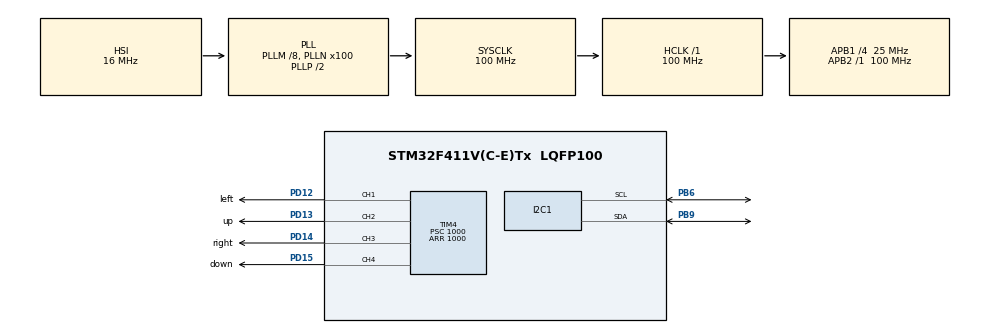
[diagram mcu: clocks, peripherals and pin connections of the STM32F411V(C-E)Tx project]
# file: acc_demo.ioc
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I2C1.I2C_Mode=I2C_Fast
Mcu.Family=STM32F4
Mcu.Name=STM32F411V(C-E)Tx
Mcu.Package=LQFP100
NVIC.I2C1_ER_IRQn=true\:0\:0\:false\:false\:true
NVIC.I2C1_EV_IRQn=true\:0\:0\:false\:false\:true
NVIC.PriorityGroup=NVIC_PRIORITYGROUP_4
NVIC.TIM4_IRQn=true\:0\:0\:false\:false\:true
PB6.Mode=I2C
PB6.Signal=I2C1_SCL
PB9.Mode=I2C
PB9.Signal=I2C1_SDA
PD12.GPIO_Label=left
PD12.Signal=S_TIM4_CH1
PD13.GPIO_Label=up
PD13.Signal=S_TIM4_CH2
PD14.GPIO_Label=right
PD14.Signal=S_TIM4_CH3
PD15.GPIO_Label=down
PD15.Signal=S_TIM4_CH4
ProjectManager.HeapSize=0x200
ProjectManager.StackSize=0x400
ProjectManager.TargetToolchain=SW4STM32
RCC.48MHZClocksFreq_Value=50000000
RCC.AHBFreq_Value=100000000
RCC.APB1CLKDivider=RCC_HCLK_DIV4
RCC.APB1Freq_Value=25000000
RCC.APB1TimFreq_Value=50000000
RCC.APB2Freq_Value=100000000
RCC.APB2TimFreq_Value=100000000
RCC.CortexFreq_Value=100000000
RCC.HCLKFreq_Value=100000000
RCC.HSE_VALUE=25000000
RCC.HSI_VALUE=16000000
RCC.LSE_VALUE=32768
RCC.PLLM=8
RCC.PLLN=100
RCC.SYSCLKFreq_VALUE=100000000
RCC.SYSCLKSource=RCC_SYSCLKSOURCE_PLLCLK
RCC.VCOOutputFreq_Value=200000000
SH.S_TIM4_CH1.0=TIM4_CH1,PWM Generation1 CH1
SH.S_TIM4_CH2.0=TIM4_CH2,PWM Generation2 CH2
SH.S_TIM4_CH3.0=TIM4_CH3,PWM Generation3 CH3
SH.S_TIM4_CH4.0=TIM4_CH4,PWM Generation4 CH4
TIM4.Channel-PWM\ Generation2\ CH2=TIM_CHANNEL_2
TIM4.Channel-PWM\ Generation3\ CH3=TIM_CHANNEL_3
TIM4.Channel-PWM\ Generation4\ CH4=TIM_CHANNEL_4
TIM4.Period=1000
TIM4.Prescaler=1000
VP_TIM4_VS_ClockSourceINT.Mode=Internal
board=acc_demo

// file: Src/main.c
/**
  ******************************************************************************
  * File Name          : main.c
  * Description        : Main program body
  ******************************************************************************
  *
  * COPYRIGHT(c) 2016 STMicroelectronics
  *
  * Redistribution and use in source and binary forms, with or without modification,
  * are permitted provided that the following conditions are met:
  *   1. Redistributions of source code must retain the above copyright notice,
  *      this list of conditions and the following disclaimer.
  *   2. Redistributions in binary form must reproduce the above copyright notice,
  *      this list of conditions and the following disclaimer in the documentation
  *      and/or other materials provided with the distribution.
  *   3. Neither the name of STMicroelectronics nor the names of its contributors
  *      may be used to endorse or promote products derived from this software
  *      without specific prior written permission.
  *
  * THIS SOFTWARE IS PROVIDED BY THE COPYRIGHT HOLDERS AND CONTRIBUTORS "AS IS"
  * AND ANY EXPRESS OR IMPLIED WARRANTIES, INCLUDING, BUT NOT LIMITED TO, THE
  * IMPLIED WARRANTIES OF MERCHANTABILITY AND FITNESS FOR A PARTICULAR PURPOSE ARE
  * DISCLAIMED. IN NO EVENT SHALL THE COPYRIGHT HOLDER OR CONTRIBUTORS BE LIABLE
  * FOR ANY DIRECT, INDIRECT, INCIDENTAL, SPECIAL, EXEMPLARY, OR CONSEQUENTIAL
  * DAMAGES (INCLUDING, BUT NOT LIMITED TO, PROCUREMENT OF SUBSTITUTE GOODS OR
  * SERVICES; LOSS OF USE, DATA, OR PROFITS; OR BUSINESS INTERRUPTION) HOWEVER
  * CAUSED AND ON ANY THEORY OF LIABILITY, WHETHER IN CONTRACT, STRICT LIABILITY,
  * OR TORT (INCLUDING NEGLIGENCE OR OTHERWISE) ARISING IN ANY WAY OUT OF THE USE
  * OF THIS SOFTWARE, EVEN IF ADVISED OF THE POSSIBILITY OF SUCH DAMAGE.
  *
  ******************************************************************************
  */
#include "main.h"
#include "stm32f4xx_hal.h"

I2C_HandleTypeDef hi2c1;

TIM_HandleTypeDef htim4;

/* USER CODE BEGIN PV */
/* Private variables ---------------------------------------------------------*/
#define acc_dev_addr  0x19<<1 //addresses from manual
#define acc_mem  0x20
uint8_t acc_write_message = 0x77;
#define acc_out_x 0x29
#define acc_out_y 0x2b
#define acc_out_z 0x2d //|0x80 for read 16bit data from accelerometr
int8_t posx, posy, posz;
float x,y,z;
/* USER CODE END PV */

void SystemClock_Config(void);
void Error_Handler(void);
static void MX_GPIO_Init(void);
static void MX_I2C1_Init(void);
static void MX_TIM4_Init(void);

void HAL_TIM_MspPostInit(TIM_HandleTypeDef *htim);

/* USER CODE BEGIN PFP */
/* Private function prototypes -----------------------------------------------*/

/* USER CODE END PFP */

int main(void)
{

  /* MCU Configuration----------------------------------------------------------*/

  /* Reset of all peripherals, Initializes the Flash interface and the Systick. */
  HAL_Init();

  /* Configure the system clock */
  SystemClock_Config();

  /* Initialize all configured peripherals */
  MX_GPIO_Init();
  MX_I2C1_Init();
  MX_TIM4_Init();

  /* USER CODE BEGIN 2 */
  HAL_TIM_PWM_Start(&htim4,TIM_CHANNEL_1);
  HAL_TIM_PWM_Start(&htim4,TIM_CHANNEL_2);
  HAL_TIM_PWM_Start(&htim4,TIM_CHANNEL_3);
  HAL_TIM_PWM_Start(&htim4,TIM_CHANNEL_4);
  HAL_I2C_Mem_Write(&hi2c1,acc_dev_addr,acc_mem, 1,&acc_write_message,1,100);

  /* USER CODE END 2 */

  /* Infinite loop */
  while (1)
  {

  /* USER CODE BEGIN 3 */

	  HAL_I2C_Mem_Read(&hi2c1, acc_dev_addr, acc_out_x, 1, &posx, 1, 100);
	  HAL_I2C_Mem_Read(&hi2c1, acc_dev_addr, acc_out_y, 1, &posy, 1, 100);

	  if(posx < 0) {
		  TIM4->CCR2=posx*posx;
		  TIM4->CCR4=0;
	  } else {
		  TIM4->CCR4=posx*posx;
		  TIM4->CCR2=0;
	  }
	  if(posy < 0) {
		  TIM4->CCR1=posy*posy;
		  TIM4->CCR3=0;
	  } else {
		  TIM4->CCR3=posy*posy;
		  TIM4->CCR1=0;
	  }
  }
  /* USER CODE END 3 */

}

/** System Clock Configuration
*/
void SystemClock_Config(void)
{

  RCC_OscInitTypeDef RCC_OscInitStruct;
  RCC_ClkInitTypeDef RCC_ClkInitStruct;

    /**Configure the main internal regulator output voltage
    */
  __HAL_RCC_PWR_CLK_ENABLE();

  __HAL_PWR_VOLTAGESCALING_CONFIG(PWR_REGULATOR_VOLTAGE_SCALE1);

    /**Initializes the CPU, AHB and APB busses clocks
    */
  RCC_OscInitStruct.OscillatorType = RCC_OSCILLATORTYPE_HSI;
  RCC_OscInitStruct.HSIState = RCC_HSI_ON;
  RCC_OscInitStruct.HSICalibrationValue = 16;
  RCC_OscInitStruct.PLL.PLLState = RCC_PLL_ON;
  RCC_OscInitStruct.PLL.PLLSource = RCC_PLLSOURCE_HSI;
  RCC_OscInitStruct.PLL.PLLM = 8;
  RCC_OscInitStruct.PLL.PLLN = 100;
  RCC_OscInitStruct.PLL.PLLP = RCC_PLLP_DIV2;
  RCC_OscInitStruct.PLL.PLLQ = 4;
  if (HAL_RCC_OscConfig(&RCC_OscInitStruct) != HAL_OK)
  {
    Error_Handler();
  }

    /**Initializes the CPU, AHB and APB busses clocks
    */
  RCC_ClkInitStruct.ClockType = RCC_CLOCKTYPE_HCLK|RCC_CLOCKTYPE_SYSCLK
                              |RCC_CLOCKTYPE_PCLK1|RCC_CLOCKTYPE_PCLK2;
  RCC_ClkInitStruct.SYSCLKSource = RCC_SYSCLKSOURCE_PLLCLK;
  RCC_ClkInitStruct.AHBCLKDivider = RCC_SYSCLK_DIV1;
  RCC_ClkInitStruct.APB1CLKDivider = RCC_HCLK_DIV4;
  RCC_ClkInitStruct.APB2CLKDivider = RCC_HCLK_DIV1;

  if (HAL_RCC_ClockConfig(&RCC_ClkInitStruct, FLASH_LATENCY_3) != HAL_OK)
  {
    Error_Handler();
  }

    /**Configure the Systick interrupt time
    */
  HAL_SYSTICK_Config(HAL_RCC_GetHCLKFreq()/1000);

    /**Configure the Systick
    */
  HAL_SYSTICK_CLKSourceConfig(SYSTICK_CLKSOURCE_HCLK);

  /* SysTick_IRQn interrupt configuration */
  HAL_NVIC_SetPriority(SysTick_IRQn, 0, 0);
}

/* I2C1 init function */
static void MX_I2C1_Init(void)
{

  hi2c1.Instance = I2C1;
  hi2c1.Init.ClockSpeed = 400000;
  hi2c1.Init.DutyCycle = I2C_DUTYCYCLE_2;
  hi2c1.Init.OwnAddress1 = 0;
  hi2c1.Init.AddressingMode = I2C_ADDRESSINGMODE_7BIT;
  hi2c1.Init.DualAddressMode = I2C_DUALADDRESS_DISABLE;
  hi2c1.Init.OwnAddress2 = 0;
  hi2c1.Init.GeneralCallMode = I2C_GENERALCALL_DISABLE;
  hi2c1.Init.NoStretchMode = I2C_NOSTRETCH_DISABLE;
  if (HAL_I2C_Init(&hi2c1) != HAL_OK)
  {
    Error_Handler();
  }

}

/* TIM4 init function */
static void MX_TIM4_Init(void)
{

  TIM_ClockConfigTypeDef sClockSourceConfig;
  TIM_MasterConfigTypeDef sMasterConfig;
  TIM_OC_InitTypeDef sConfigOC;

  htim4.Instance = TIM4;
  htim4.Init.Prescaler = 1000;
  htim4.Init.CounterMode = TIM_COUNTERMODE_UP;
  htim4.Init.Period = 1000;
  htim4.Init.ClockDivision = TIM_CLOCKDIVISION_DIV1;
  if (HAL_TIM_Base_Init(&htim4) != HAL_OK)
  {
    Error_Handler();
  }

  sClockSourceConfig.ClockSource = TIM_CLOCKSOURCE_INTERNAL;
  if (HAL_TIM_ConfigClockSource(&htim4, &sClockSourceConfig) != HAL_OK)
  {
    Error_Handler();
  }

  if (HAL_TIM_PWM_Init(&htim4) != HAL_OK)
  {
    Error_Handler();
  }

  sMasterConfig.MasterOutputTrigger = TIM_TRGO_RESET;
  sMasterConfig.MasterSlaveMode = TIM_MASTERSLAVEMODE_DISABLE;
  if (HAL_TIMEx_MasterConfigSynchronization(&htim4, &sMasterConfig) != HAL_OK)
  {
    Error_Handler();
  }

  sConfigOC.OCMode = TIM_OCMODE_PWM1;
  sConfigOC.Pulse = 0;
  sConfigOC.OCPolarity = TIM_OCPOLARITY_HIGH;
  sConfigOC.OCFastMode = TIM_OCFAST_DISABLE;
  if (HAL_TIM_PWM_ConfigChannel(&htim4, &sConfigOC, TIM_CHANNEL_1) != HAL_OK)
  {
    Error_Handler();
  }

  if (HAL_TIM_PWM_ConfigChannel(&htim4, &sConfigOC, TIM_CHANNEL_2) != HAL_OK)
  {
    Error_Handler();
  }

  if (HAL_TIM_PWM_ConfigChannel(&htim4, &sConfigOC, TIM_CHANNEL_3) != HAL_OK)
  {
    Error_Handler();
  }

  if (HAL_TIM_PWM_ConfigChannel(&htim4, &sConfigOC, TIM_CHANNEL_4) != HAL_OK)
  {
    Error_Handler();
  }

  HAL_TIM_MspPostInit(&htim4);

}

/** Pinout Configuration
*/
static void MX_GPIO_Init(void)
{

  /* GPIO Ports Clock Enable */
  __HAL_RCC_GPIOD_CLK_ENABLE();
  __HAL_RCC_GPIOB_CLK_ENABLE();

}

void Error_Handler(void)
{
  while(1)
  {
  }
}

/************************ (C) COPYRIGHT STMicroelectronics *****END OF FILE****/
